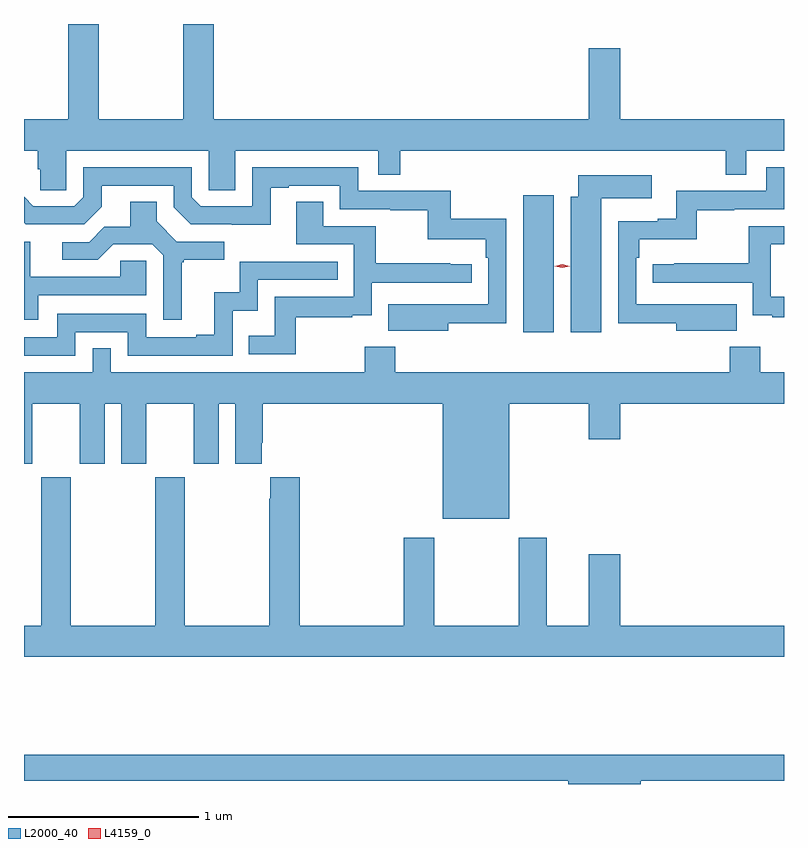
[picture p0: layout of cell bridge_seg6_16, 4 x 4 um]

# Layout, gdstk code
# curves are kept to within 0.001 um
import gdstk
lib = gdstk.Library(unit=1e-6, precision=1e-09)
def R(c, l, rs):  # rectangles x0, y0, x1, y1
    for r in rs: c.add(gdstk.rectangle(r[:2], r[2:], *l))
def P(c, l, *ps):  # polygons
    for p in ps: c.add(gdstk.Polygon(p, *l))
L2000_40 = (2000, 40)
L4159_0 = (4159, 0)

bridge_seg6_16 = lib.new_cell('bridge_seg6_16')
R(bridge_seg6_16, L2000_40, [(979.847,918.408,980.008,919.129)])
P(bridge_seg6_16, L2000_40, [(977.442,919.364),(978.192,919.364),(978.192,919.156),(978.331,919.156),(978.331,919.364),(979.083,919.364),(979.083,919.237),(979.199,919.237),(979.199,919.364),(980.913,919.364),(980.913,919.237),(981.021,919.237),(981.021,919.364),(981.219,919.364),(981.219,919.528),(980.356,919.528),(980.356,919.903),(980.192,919.903),(980.192,919.528),(978.218,919.528),(978.218,920.03),(978.058,920.03),(978.058,919.528),(977.613,919.528),(977.613,920.03),(977.453,920.03),(977.453,919.528),(977.219,919.528),(977.219,919.364),(977.291,919.364),(977.291,919.266),(977.305,919.266),(977.305,919.156),(977.442,919.156)],
  [(980.969,918.556),(980.755,918.556),(980.755,918.555),(980.442,918.555),(980.442,918.8),(980.456,918.8),(980.456,918.896),(980.761,918.896),(980.761,919.051),(980.957,919.051),(980.957,919.056),(981.219,919.056),(981.219,919.275),(981.126,919.275),(981.126,919.152),(980.652,919.152),(980.652,919.006),(980.555,919.006),(980.555,918.993),(980.346,918.993),(980.346,918.454),(980.651,918.454),(980.651,918.416),(980.969,918.416)],
  [(979.453,918.454),(979.758,918.454),(979.758,919.006),(979.465,919.006),(979.465,919.152),(978.978,919.152),(978.978,919.275),(978.42,919.275),(978.42,919.071),(978.15,919.071),(978.102,919.119),(978.102,919.275),(977.532,919.275),(977.532,919.119),(977.484,919.071),(977.268,919.071),(977.219,919.12),(977.219,918.985),(977.229,918.975),(977.535,918.975),(977.629,919.069),(977.629,919.179),(978.006,919.179),(978.006,919.065),(978.096,918.975),(978.517,918.974),(978.517,919.167),(978.613,919.167),(978.613,919.179),(978.882,919.179),(978.882,919.056),(979.147,919.056),(979.147,919.051),(979.344,919.051),(979.344,918.896),(979.649,918.896),(979.649,918.8),(979.662,918.8),(979.662,918.555),(979.135,918.556),(979.135,918.416),(979.453,918.416)],
  [(980.257,919.112),(980.524,919.112),(980.524,919.234),(980.135,919.234),(980.135,919.12),(980.096,919.12),(980.096,918.408),(980.257,918.408)],
  [(978.649,918.486),(978.947,918.486),(978.947,918.497),(979.05,918.497),(979.05,918.669),(979.576,918.669),(979.576,918.765),(979.463,918.765),(979.463,918.77),(979.07,918.77),(979.07,918.966),(978.793,918.966),(978.793,919.094),(978.653,919.094),(978.653,918.87),(978.954,918.87),(978.954,918.594),(978.538,918.594),(978.538,918.388),(978.403,918.388),(978.403,918.291),(978.649,918.291)],
  [(978.049,918.777),(978.061,918.777),(978.061,918.788),(978.274,918.788),(978.274,918.885),(978.024,918.885),(977.917,918.992),(977.917,919.094),(977.777,919.094),(977.777,918.962),(977.642,918.962),(977.562,918.882),(977.421,918.882),(977.421,918.789),(977.608,918.789),(977.689,918.87),(977.895,918.87),(977.952,918.813),(977.952,918.474),(978.049,918.474)],
  [(981.219,918.594),(981.15,918.594),(981.15,918.87),(981.219,918.87),(981.219,918.966),(981.034,918.966),(981.034,918.77),(980.641,918.77),(980.641,918.765),(980.529,918.765),(980.529,918.669),(981.054,918.669),(981.054,918.497),(981.157,918.497),(981.157,918.486),(981.219,918.486)],
  [(977.293,918.603),(977.862,918.603),(977.862,918.783),(977.725,918.783),(977.725,918.699),(977.251,918.699),(977.251,918.885),(977.219,918.885),(977.219,918.474),(977.293,918.474)],
  [(977.49,918.408),(977.766,918.408),(977.766,918.285),(978.318,918.285),(978.318,918.521),(978.45,918.521),(978.45,918.684),(978.869,918.684),(978.869,918.78),(978.354,918.78),(978.354,918.619),(978.221,918.619),(978.221,918.394),(978.125,918.394),(978.125,918.381),(977.862,918.381),(977.862,918.504),(977.394,918.504),(977.394,918.381),(977.219,918.381),(977.219,918.285),(977.49,918.285)],
  [(977.676,918.323),(977.58,918.323),(977.58,918.196),(977.219,918.196),(977.219,917.715),(977.263,917.715),(977.263,918.032),(977.513,918.032),(977.513,917.715),(977.644,917.715),(977.644,918.032),(977.732,918.032),(977.732,917.715),(977.863,917.715),(977.863,918.032),(978.113,918.032),(978.113,917.715),(978.244,917.715),(978.244,918.032),(978.332,918.032),(978.332,917.715),(978.469,917.715),(978.469,917.827),(978.476,917.827),(978.476,918.032),(979.424,918.032),(979.424,917.426),(979.774,917.426),(979.774,918.032),(980.192,918.032),(980.192,917.844),(980.356,917.844),(980.356,918.032),(981.219,918.032),(981.219,918.196),(981.093,918.196),(981.093,918.331),(980.933,918.331),(980.933,918.196),(979.172,918.196),(979.172,918.331),(979.012,918.331),(979.012,918.196),(977.676,918.196)],
  [(981.219,916.864),(980.356,916.864),(980.356,917.239),(980.192,917.239),(980.192,916.864),(979.969,916.864),(979.969,917.326),(979.822,917.326),(979.822,916.864),(979.377,916.864),(979.377,917.326),(979.217,917.326),(979.217,916.864),(978.671,916.864),(978.671,917.644),(978.515,917.644),(978.515,917.531),(978.511,917.531),(978.511,916.864),(978.066,916.864),(978.066,917.644),(977.911,917.644),(977.911,916.864),(977.466,916.864),(977.466,917.644),(977.311,917.644),(977.311,916.864),(977.219,916.864),(977.219,916.7),(981.219,916.7)],
  [(980.464,916.048),(981.219,916.048),(981.219,916.184),(977.219,916.184),(977.219,916.048),(980.084,916.048),(980.084,916.03),(980.464,916.03)])
P(bridge_seg6_16, L4159_0, [(980.052,918.746),(980.012,918.756),(980.012,918.756),(980.012,918.756),(980.052,918.766),(980.092,918.756),(980.092,918.756),(980.092,918.756)])

lib.write_gds('bridge_seg6_16.gds')
